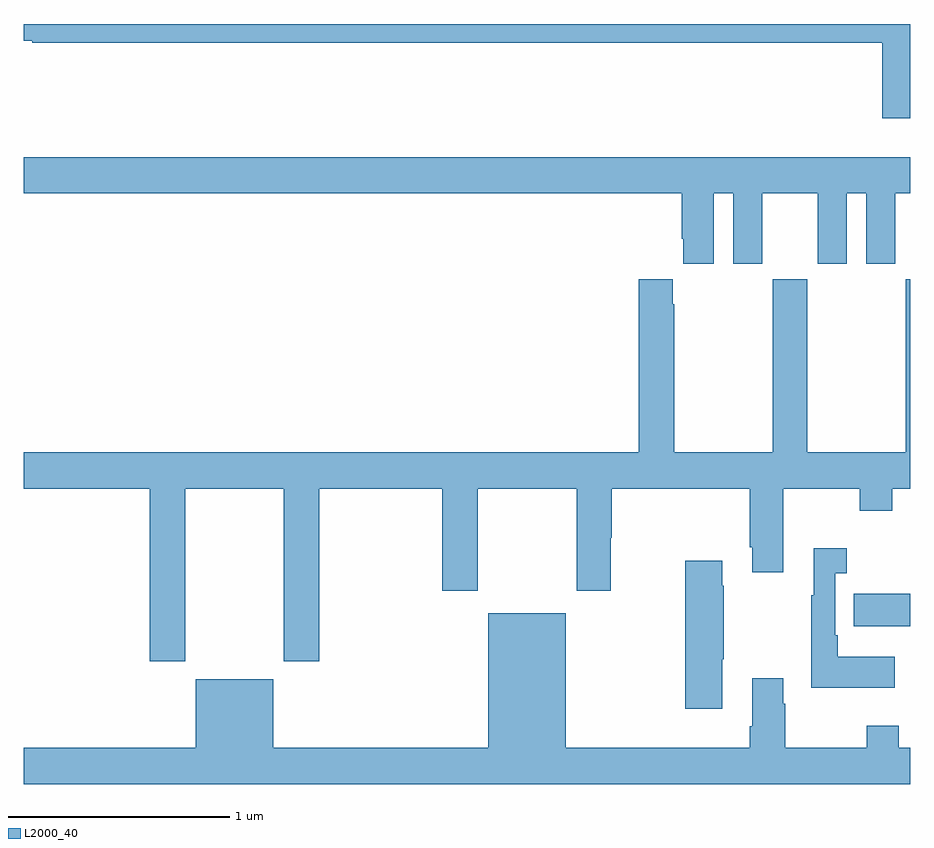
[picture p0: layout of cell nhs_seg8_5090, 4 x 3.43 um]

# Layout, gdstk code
import gdstk
lib = gdstk.Library(unit=1e-6, precision=1e-09)
def R(c, l, rs):  # rectangles x0, y0, x1, y1
    for r in rs: c.add(gdstk.rectangle(r[:2], r[2:], *l))
def P(c, l, *ps):  # polygons
    for p in ps: c.add(gdstk.Polygon(p, *l))
L2000_40 = (2000, 40)

nhs_seg8_5090 = lib.new_cell('nhs_seg8_5090')
R(nhs_seg8_5090, L2000_40, [(420.745,1145.183,421,1145.331)])
P(nhs_seg8_5090, L2000_40, [(421,1147.9),(417,1147.9),(417,1147.824),(417.038,1147.824),(417.038,1147.816),(420.872,1147.816),(420.872,1147.476),(421,1147.476)],
  [(420.112,1147.136),(420.2,1147.136),(420.2,1146.819),(420.331,1146.819),(420.331,1147.136),(420.581,1147.136),(420.581,1146.819),(420.712,1146.819),(420.712,1147.136),(420.8,1147.136),(420.8,1146.819),(420.931,1146.819),(420.931,1147.136),(421,1147.136),(421,1147.3),(417,1147.3),(417,1147.136),(419.969,1147.136),(419.969,1146.931),(419.975,1146.931),(419.975,1146.819),(420.112,1146.819)],
  [(417.729,1145.804),(418.174,1145.804),(418.174,1145.025),(418.334,1145.025),(418.334,1145.804),(418.889,1145.804),(418.889,1145.343),(419.049,1145.343),(419.049,1145.804),(419.494,1145.804),(419.494,1145.343),(419.649,1145.343),(419.649,1145.582),(419.654,1145.582),(419.654,1145.804),(420.275,1145.804),(420.275,1145.539),(420.287,1145.539),(420.287,1145.427),(420.427,1145.427),(420.427,1145.804),(420.772,1145.804),(420.772,1145.705),(420.919,1145.705),(420.919,1145.804),(421,1145.804),(421,1146.748),(420.979,1146.748),(420.979,1145.968),(420.534,1145.968),(420.534,1146.748),(420.379,1146.748),(420.379,1145.968),(419.934,1145.968),(419.934,1146.635),(419.929,1146.635),(419.929,1146.748),(419.774,1146.748),(419.774,1145.968),(417,1145.968),(417,1145.804),(417.569,1145.804),(417.569,1145.025),(417.729,1145.025)],
  [(420.929,1145.047),(420.673,1145.047),(420.673,1145.143),(420.66,1145.143),(420.66,1145.423),(420.712,1145.423),(420.712,1145.536),(420.563,1145.536),(420.563,1145.323),(420.552,1145.323),(420.552,1144.907),(420.929,1144.907)],
  [(420.151,1145.035),(420.159,1145.035),(420.159,1145.366),(420.151,1145.366),(420.151,1145.479),(419.984,1145.479),(419.984,1144.812),(420.151,1144.812)],
  [(421,1144.636),(420.948,1144.636),(420.948,1144.735),(420.802,1144.735),(420.802,1144.636),(420.435,1144.636),(420.435,1144.835),(420.427,1144.835),(420.427,1144.948),(420.287,1144.948),(420.287,1144.732),(420.275,1144.732),(420.275,1144.636),(419.446,1144.636),(419.446,1145.242),(419.096,1145.242),(419.096,1144.636),(418.126,1144.636),(418.126,1144.945),(417.776,1144.945),(417.776,1144.636),(417,1144.636),(417,1144.472),(421,1144.472)])

lib.write_gds('nhs_seg8_5090.gds')
